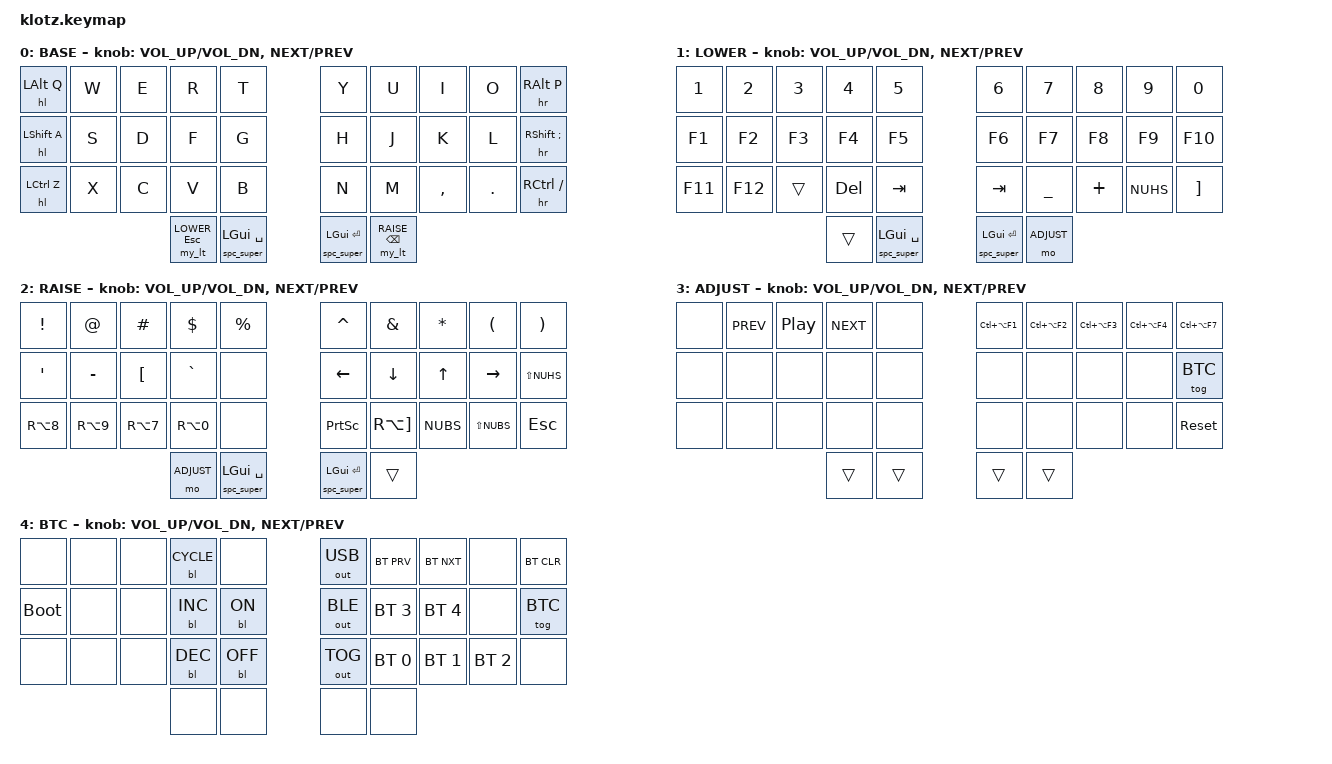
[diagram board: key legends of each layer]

//              █         ██        ▄▀▀▀▀▀▀▀▀▀▀█▀▀▀▀▀▀▀▀█▀▀▀▀▀▀▀▀▀▀█
//              █        █ █      ▄▀            ▀▄      █         █
//              █       █  █    ▄▀                ▀▄    █        █
//              █      █   █   █                    █   █       █
//              █     █    █   █                    █   █      █
//              █    █     █   █                    █   █  ▀▀▀█▀▀▀▀
//              █   █ █    █   █                    █   █    █
//              █  █   █   █   █                    █   █   █
//              █ █     █  █    ▀▄                ▄▀    █  █
//              ██       █ █      ▀▄            ▄▀      █ █
//              █         ██▄▄▄▄▄▄▄▄█▄▄▄▄▄▄▄▄▄▄▀        ██▄▄▄▄▄▄▄▄▄▄
//
//▄▄▄▄▄▄▄▄▄▄▄▄▄▄▄▄▄▄▄▄▄▄▄▄▄▄▄▄▄▄▄▄▄▄▄▄▄▄▄▄▄▄▄▄▄▄▄▄▄▄▄▄▄▄▄▄▄▄▄▄▄▄▄▄▄▄▄▄▄▄▄▄▄▄▄▄▄▄▄


#include "base_5x3T2.h"
#include <dt-bindings/zmk/backlight.h>

// READABILITY ├───────────────────────────────────────────────┐

#define TTY_1 &kp LC(LA(F1))
#define TTY_2 &kp LC(LA(F2))
#define TTY_3 &kp LC(LA(F3))
#define TTY_4 &kp LC(LA(F4))
#define TTY_7 &kp LC(LA(F7))

// KLOTZ key numbers
//  ___________________________________       ___________________________________
// |  0  |  1  |  2  |  3  |  4  |     |     |     |    5 |   6 |   7 |   8 |  9  |
// | 10  | 11  | 12  | 13  | 14  |     |     |     |   15 |  16 |  17 |  18 | 19  |
// | 20  | 21  | 22  | 23  | 24  | ROT |     | ROT |   25 |  26 |  27 |  28 | 29  |
// |                         30  | 31  |     |  32 |  33                         |
//  -----------------------------------       -----------------------------------

/ {

    keymap {
        compatible = "zmk,keymap";

        qwertz {
            label = "BASE";

            bindings = <
                &hl LALT Q     &kp W    &kp E    &kp R    &kp T                  &kp Y     &kp U    &kp I     &kp O    &hr RALT P
                &hl LSHFT A    &kp S    &kp D    &kp F    &kp G                  &kp H     &kp J    &kp K     &kp L    &hr RSHFT SEMI
                &hl LCTRL Z    &kp X    &kp C    &kp V    &kp B                  &kp N     &kp M    &kp COMMA &kp DOT  &hr RCTRL SLASH
                                                 &my_lt LOWER ESC &spc_super LGUI SPACE  &spc_super LGUI ENTER &my_lt RAISE BSPC
            >;
            sensor-bindings = <&inc_dec_kp C_VOL_UP C_VOL_DN  &inc_dec_kp C_NEXT C_PREV>;
        };
        numbers {
            label = "LOWER";

            bindings = <
                &kp N1   &kp N2    &kp N3  &kp N4   &kp N5           &kp N6        &kp N7     &kp N8   &kp N9   &kp N0
                &kp F1   &kp F2    &kp F3  &kp F4   &kp F5           &kp F6        &kp F7     &kp F8   &kp F9   &kp F10
                &kp F11  &kp F12   &trans  &kp DEL  &kp TAB          &kp TAB       &kp UNDER  &kp PLUS &kp NUHS &kp RBKT
                                           &trans   &spc_super LGUI SPACE   &spc_super LGUI ENTER &mo ADJUST
            >;
            sensor-bindings = <&inc_dec_kp C_VOL_UP C_VOL_DN  &inc_dec_kp C_NEXT C_PREV>;
        };
        symbols {
            label = "RAISE";

            bindings = <
                &kp EXCL    &kp AT      &kp HASH   &kp DLLR   &kp PRCNT      &kp CARET     &kp AMPS     &kp STAR   &kp LPAR     &kp RPAR
                &kp SQT     &kp MINUS   &kp LBKT   &kp GRAVE  &none          &kp LEFT      &kp DOWN     &kp UP     &kp RIGHT    &kp LS(NUHS)
                &kp RA(N8)  &kp RA(N9)  &kp RA(N7) &kp RA(N0) &none          &kp PSCRN     &kp RA(RBKT)    &kp NUBS   &kp LS(NUBS) &kp ESC
                                                   &mo ADJUST &spc_super LGUI SPACE &spc_super LGUI ENTER &trans
            >;
            sensor-bindings = <&inc_dec_kp C_VOL_UP C_VOL_DN  &inc_dec_kp C_NEXT C_PREV>;
        };
        combos {
            label = "ADJUST";

            bindings = <
                &none    &kp C_PREV &kp C_PP &kp C_NEXT &none      TTY_1    TTY_2    TTY_3    TTY_4    TTY_7
                &none    &none      &none    &none      &none      &none    &none    &none    &none    &tog BTC
                &none    &none      &none    &none      &none      &none    &none    &none    &none    &sys_reset
                                             &trans     &trans     &trans   &trans
            >;
            sensor-bindings = <&inc_dec_kp C_VOL_UP C_VOL_DN  &inc_dec_kp C_NEXT C_PREV>;
        };
        bluetooth {
            label = "BTC";

            bindings = <
                &none       &none  &none  &bl BL_CYCLE &none           &out OUT_USB  &bt BT_PRV    &bt BT_NXT    &none         &bt BT_CLR
                &bootloader &none  &none  &bl BL_INC   &bl BL_ON       &out OUT_BLE  &bt BT_SEL 3  &bt BT_SEL 4  &none         &tog BTC
                &none       &none  &none  &bl BL_DEC   &bl BL_OFF      &out OUT_TOG  &bt BT_SEL 0  &bt BT_SEL 1  &bt BT_SEL 2  &none
                                          &none        &none           &none         &none
            >;
            sensor-bindings = <&inc_dec_kp C_VOL_UP C_VOL_DN  &inc_dec_kp C_NEXT C_PREV>;
        };

    };
};
